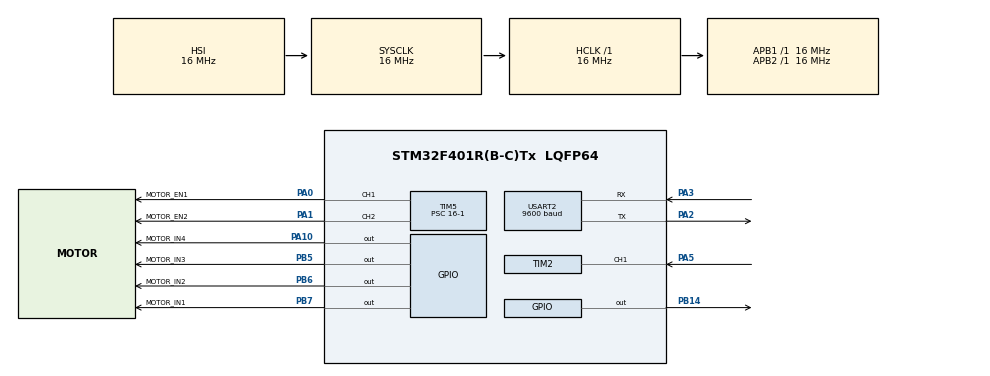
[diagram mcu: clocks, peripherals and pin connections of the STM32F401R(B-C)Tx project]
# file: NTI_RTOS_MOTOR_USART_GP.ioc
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FREERTOS.Queues01=motorQueue,16,motorControl_t,0,Dynamic,NULL,NULL
FREERTOS.Tasks01=motorTask,48,128,StartmotorTask,Default,NULL,Dynamic,NULL,NULL;ACCTask,40,128,StartACCTask,Default,NULL,Dynamic,NULL,NULL;NormalModeTask,41,128,StartNormalMode,Default,NULL,Dynamic,NULL,NULL
FREERTOS.configUSE_PREEMPTION=0
Mcu.Family=STM32F4
Mcu.Name=STM32F401R(B-C)Tx
Mcu.Package=LQFP64
NVIC.PriorityGroup=NVIC_PRIORITYGROUP_4
NVIC.TIM1_UP_TIM10_IRQn=true\:15\:0\:false\:false\:true\:false\:false\:true\:true
NVIC.TIM2_IRQn=true\:5\:0\:false\:false\:true\:true\:true\:true\:true
NVIC.TimeBase=TIM1_UP_TIM10_IRQn
NVIC.TimeBaseIP=TIM10
NVIC.USART2_IRQn=true\:5\:0\:false\:false\:true\:true\:true\:true\:true
PA0-WKUP.GPIO_Label=MOTOR_EN1
PA0-WKUP.Signal=S_TIM5_CH1
PA1.GPIO_Label=MOTOR_EN2
PA1.Signal=S_TIM5_CH2
PA10.GPIO_Label=MOTOR_IN4
PA10.Signal=GPIO_Output
PA13.Mode=Serial_Wire
PA13.Signal=SYS_JTMS-SWDIO
PA14.Mode=Serial_Wire
PA14.Signal=SYS_JTCK-SWCLK
PA2.Mode=Asynchronous
PA2.Signal=USART2_TX
PA3.Mode=Asynchronous
PA3.Signal=USART2_RX
PA5.Signal=S_TIM2_CH1_ETR
PB14.GPIO_Speed=GPIO_SPEED_FREQ_LOW
PB14.Signal=GPIO_Output
PB5.GPIO_Label=MOTOR_IN3
PB5.Signal=GPIO_Output
PB6.GPIO_Label=MOTOR_IN2
PB6.Signal=GPIO_Output
PB7.GPIO_Label=MOTOR_IN1
PB7.Signal=GPIO_Output
ProjectManager.HeapSize=0x200
ProjectManager.StackSize=0x400
ProjectManager.TargetToolchain=STM32CubeIDE
RCC.AHBFreq_Value=16000000
RCC.APB1Freq_Value=16000000
RCC.APB2Freq_Value=16000000
RCC.CortexFreq_Value=16000000
RCC.HSE_VALUE=25000000
RCC.HSI_VALUE=16000000
RCC.LSE_VALUE=32768
RCC.SYSCLKFreq_VALUE=16000000
RCC.VCOOutputFreq_Value=192000000
SH.S_TIM2_CH1_ETR.0=TIM2_CH1,Input_Capture1_from_TI1
SH.S_TIM5_CH1.0=TIM5_CH1,PWM Generation1 CH1
SH.S_TIM5_CH2.0=TIM5_CH2,PWM Generation2 CH2
TIM2.Channel-Input_Capture1_from_TI1=TIM_CHANNEL_1
TIM2.Period=65535
TIM2.Prescaler=16-1
TIM5.Channel-PWM\ Generation1\ CH1=TIM_CHANNEL_1
TIM5.Channel-PWM\ Generation2\ CH2=TIM_CHANNEL_2
TIM5.CounterMode=TIM_COUNTERMODE_UP
TIM5.Period=20000-1
TIM5.Prescaler=16-1
USART2.BaudRate=9600
USART2.VirtualMode=VM_ASYNC
VP_FREERTOS_VS_CMSIS_V2.Mode=CMSIS_V2
VP_SYS_VS_tim10.Mode=TIM10
VP_TIM2_VS_ClockSourceINT.Mode=Internal
board=custom

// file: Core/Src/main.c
/* USER CODE BEGIN Header */
/**
  ******************************************************************************
  * @file           : main.c
  * @brief          : Main program body
  ******************************************************************************
  * @attention
  *
  * Copyright (c) 2023 STMicroelectronics.
  * All rights reserved.
  *
  * This software is licensed under terms that can be found in the LICENSE file
  * in the root directory of this software component.
  * If no LICENSE file comes with this software, it is provided AS-IS.
  *
  ******************************************************************************
  */
/* USER CODE END Header */
#include "main.h"
#include "cmsis_os.h"
#include "tim.h"
#include "usart.h"
#include "gpio.h"

/* USER CODE BEGIN Includes */
#include "../HCSR04/HCSR04.h"
#include <stdlib.h>
/* USER CODE END Includes */

/* USER CODE BEGIN PD */
#define HCSR04_SENSOR1  0
/* USER CODE END PD */

/* USER CODE BEGIN PV */
uint16_t Buffer_ASCII_TO_INT;
uint8_t Buffer[4];
uint8_t Car_Current_Mode      = CAR_DEFAULT_MODE;
uint8_t Car_Current_Direction = CAR_STOP;
uint8_t Car_Current_Status    = CAR_RUNNING;
uint8_t Car_Current_Speed     = CAR_DEFAULT_SPEED;

//uint8_t Buffer_GUI[GUI_ARRAY_SIZE]
uint8_t Buffer_GUI[GUI_ARRAY_SIZE]   = {"1112000010101"};
//uint8_t Buffer_GUI[GUI_ARRAY_SIZE] = {"0109521701010"};
/* USER CODE END PV */

void SystemClock_Config(void);
void MX_FREERTOS_Init(void);

int main(void)
{

  /* MCU Configuration--------------------------------------------------------*/

  /* Reset of all peripherals, Initializes the Flash interface and the Systick. */
  HAL_Init();

  /* Configure the system clock */
  SystemClock_Config();

  /* Initialize all configured peripherals */
  MX_GPIO_Init();
  MX_TIM5_Init();
  MX_TIM2_Init();
  MX_USART2_UART_Init();
  /* USER CODE BEGIN 2 */
  HCSR04_Init(HCSR04_SENSOR1, &htim2);
  HAL_TIM_PWM_Start(&htim5, TIM_CHANNEL_1);
  HAL_TIM_PWM_Start(&htim5, TIM_CHANNEL_2);

  /* UART Receive */
  HAL_UART_Receive_IT(&huart2, (uint8_t*)Buffer, 4);

  /* USER CODE END 2 */

  /* Init scheduler */
  osKernelInitialize();  /* Call init function for freertos objects (in freertos.c) */
  MX_FREERTOS_Init();

  /* Start scheduler */
  osKernelStart();
  /* We should never get here as control is now taken by the scheduler */
  /* Infinite loop */
  while (1)
  {

    /* USER CODE BEGIN 3 */
	/*Distance = HCSR04_Read(HCSR04_SENSOR1);
	HAL_Delay(10);

	TRIG_Ticks++;
	if(TRIG_Ticks >= 15) // Each 15msec
	{
		HCSR04_Trigger(HCSR04_SENSOR1);
		TRIG_Ticks = 0;
	}*/
  }
  /* USER CODE END 3 */
}

void SystemClock_Config(void)
{
  RCC_OscInitTypeDef RCC_OscInitStruct = {0};
  RCC_ClkInitTypeDef RCC_ClkInitStruct = {0};

  /** Configure the main internal regulator output voltage
  */
  __HAL_RCC_PWR_CLK_ENABLE();
  __HAL_PWR_VOLTAGESCALING_CONFIG(PWR_REGULATOR_VOLTAGE_SCALE2);

  /** Initializes the RCC Oscillators according to the specified parameters
  * in the RCC_OscInitTypeDef structure.
  */
  RCC_OscInitStruct.OscillatorType = RCC_OSCILLATORTYPE_HSI;
  RCC_OscInitStruct.HSIState = RCC_HSI_ON;
  RCC_OscInitStruct.HSICalibrationValue = RCC_HSICALIBRATION_DEFAULT;
  RCC_OscInitStruct.PLL.PLLState = RCC_PLL_NONE;
  if (HAL_RCC_OscConfig(&RCC_OscInitStruct) != HAL_OK)
  {
    Error_Handler();
  }

  /** Initializes the CPU, AHB and APB buses clocks
  */
  RCC_ClkInitStruct.ClockType = RCC_CLOCKTYPE_HCLK|RCC_CLOCKTYPE_SYSCLK
                              |RCC_CLOCKTYPE_PCLK1|RCC_CLOCKTYPE_PCLK2;
  RCC_ClkInitStruct.SYSCLKSource = RCC_SYSCLKSOURCE_HSI;
  RCC_ClkInitStruct.AHBCLKDivider = RCC_SYSCLK_DIV1;
  RCC_ClkInitStruct.APB1CLKDivider = RCC_HCLK_DIV1;
  RCC_ClkInitStruct.APB2CLKDivider = RCC_HCLK_DIV1;

  if (HAL_RCC_ClockConfig(&RCC_ClkInitStruct, FLASH_LATENCY_0) != HAL_OK)
  {
    Error_Handler();
  }
}

/* USER CODE BEGIN 4 */
void HAL_TIM_IC_CaptureCallback(TIM_HandleTypeDef *htim)
{
	HCSR04_TMR_IC_ISR(htim);
}

void HAL_UART_RxCpltCallback(UART_HandleTypeDef *huart)
{
	HAL_UART_Transmit(&huart2, Buffer_GUI, 14, 20);
	Buffer_ASCII_TO_INT = atoi((char*)Buffer);
	if((Buffer_ASCII_TO_INT == NORMAL_MODE)||(Buffer_ASCII_TO_INT == ACC_MODE) || (Buffer_ASCII_TO_INT == SELF_DRIVING))
	{
		Car_Current_Mode = Buffer_ASCII_TO_INT;
		Car_Current_Status = CAR_RUNNING ;

	}
	else if((Buffer_ASCII_TO_INT == MOVE_FORWARD)||(Buffer_ASCII_TO_INT == MOVE_BACKWORD)||(Buffer_ASCII_TO_INT == MOVE_RIGHT)||(Buffer_ASCII_TO_INT == MOVE_LEFT))
	{
		Car_Current_Direction = Buffer_ASCII_TO_INT;
	}
	else if (Buffer_ASCII_TO_INT == STOP_MOTOR)
	{
		Car_Current_Speed  = CAR_STOP ;
		Car_Current_Status = CAR_STOP ;
	}
	else
	{
		Car_Current_Speed = Buffer_ASCII_TO_INT - CAR_SPEED_OFFSET ;
		Car_Current_Status = CAR_RUNNING ;

	}
}

/* USER CODE END 4 */

void HAL_TIM_PeriodElapsedCallback(TIM_HandleTypeDef *htim)
{
  if (htim->Instance == TIM10) {
    HAL_IncTick();
  }
  /* USER CODE BEGIN Callback 1 */
  HCSR04_TMR_OVF_ISR(htim);
  /* USER CODE END Callback 1 */
}

void Error_Handler(void)
{
  __disable_irq();
  while (1)
  {
  }
}

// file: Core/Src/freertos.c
/* USER CODE BEGIN Header */
/**
  ******************************************************************************
  * File Name          : freertos.c
  * Description        : Code for freertos applications
  ******************************************************************************
  * @attention
  *
  * Copyright (c) 2023 STMicroelectronics.
  * All rights reserved.
  *
  * This software is licensed under terms that can be found in the LICENSE file
  * in the root directory of this software component.
  * If no LICENSE file comes with this software, it is provided AS-IS.
  *
  ******************************************************************************
  */
/* USER CODE END Header */

#include "FreeRTOS.h"
#include "task.h"
#include "main.h"
#include "cmsis_os.h"

/* USER CODE BEGIN Includes */
#include "../HCSR04/HCSR04.h"
#include "../DCMotor/DCMotor.h"
#include "tim.h"
/* USER CODE END Includes */

/* USER CODE BEGIN PD */
#define HCSR04_SENSOR1  0

/* USER CODE END PD */

/* USER CODE BEGIN Variables */
extern uint8_t Buffer[4];
extern uint16_t Buffer_ASCII_TO_INT;
extern uint8_t Car_Current_Mode;
extern uint8_t Car_Current_Direction;
extern uint8_t Car_Current_Status;
extern uint8_t Car_Current_Speed;
extern uint8_t Buffer_GUI[GUI_ARRAY_SIZE];

float Distance = 0.0;
/* USER CODE END Variables */
/* Definitions for motorTask */
osThreadId_t motorTaskHandle;
const osThreadAttr_t motorTask_attributes = {
  .name = "motorTask",
  .stack_size = 128 * 4,
  .priority = (osPriority_t) osPriorityRealtime,
};
/* Definitions for ACCTask */
osThreadId_t ACCTaskHandle;
const osThreadAttr_t ACCTask_attributes = {
  .name = "ACCTask",
  .stack_size = 128 * 4,
  .priority = (osPriority_t) osPriorityHigh,
};
/* Definitions for NormalModeTask */
osThreadId_t NormalModeTaskHandle;
const osThreadAttr_t NormalModeTask_attributes = {
  .name = "NormalModeTask",
  .stack_size = 128 * 4,
  .priority = (osPriority_t) osPriorityHigh1,
};
/* Definitions for motorQueue */
osMessageQueueId_t motorQueueHandle;
const osMessageQueueAttr_t motorQueue_attributes = {
  .name = "motorQueue"
};

/* USER CODE BEGIN FunctionPrototypes */
extern UART_HandleTypeDef huart2;
/* USER CODE END FunctionPrototypes */

void StartmotorTask(void *argument);
void StartACCTask(void *argument);
void StartNormalMode(void *argument);

void MX_FREERTOS_Init(void); /* (MISRA C 2004 rule 8.1) */

void MX_FREERTOS_Init(void) {

  /* Create the queue(s) */
  /* creation of motorQueue */
  motorQueueHandle = osMessageQueueNew (16, sizeof(motorControl_t), &motorQueue_attributes);

  /* Create the thread(s) */
  /* creation of motorTask */
  motorTaskHandle = osThreadNew(StartmotorTask, NULL, &motorTask_attributes);

  /* creation of ACCTask */
  ACCTaskHandle = osThreadNew(StartACCTask, NULL, &ACCTask_attributes);

  /* creation of NormalModeTask */
  NormalModeTaskHandle = osThreadNew(StartNormalMode, NULL, &NormalModeTask_attributes);

}

void StartmotorTask(void *argument)
{
  /* USER CODE BEGIN StartmotorTask */
  /* Infinite loop */
  for(;;)
  {
	  motorControl_t motortask;
	  uint8_t motortask_prio;
	  if(osMessageQueueGet(motorQueueHandle, &motortask, &motortask_prio, 10) == osOK)
	  {
		  /*if(motortask.motors[0].speed > 0 && motortask.motors[0].speed < 40)
		  {
			  Motor1_SetSpeed(70);
			  Motor2_SetSpeed(70);
			  HAL_Delay(5);
		  }*/
		  DCMotor_handleRequest(&motortask);
	  }
    osDelay(10);
  }
  /* USER CODE END StartmotorTask */
}

void StartACCTask(void *argument)
{
  /* USER CODE BEGIN StartACCTask */
	static uint8_t TRIG_Ticks = 0;
	static double prev_distance;
	static double prev_distances[2];
  /* Infinite loop */
  for(;;)
  {
	  Distance = HCSR04_Read(HCSR04_SENSOR1);
	  /*if(Distance == prev_distances[0] && Distance == prev_distances[1])
	  {
		  Distance = 9999.0;
	  }*/
	  TRIG_Ticks++;
	  if(TRIG_Ticks >= 5)
	  {
		  HCSR04_Trigger(HCSR04_SENSOR1);
		  TRIG_Ticks = 0;
		  // MOTOR TEST:
		  /*
		  static uint8_t lmao = 0;
		  osMessageQueuePut(motorQueueHandle, &lmao, 0, 1);
		  lmao = (lmao+1) % 8;
		  */
	 #if 0
		  static uint8_t lmao = 0;
		  motorControl_t payload = {0};
		  switch(lmao)
		  {
		  case 0: // STOP ALL
			  for(uint8_t i = 0; i < 2; i++)
			  {
				  payload.motors[i].modify = 1;
				  payload.motors[i].speed = 0;
				  payload.motors[i].control = MOTOR_OFF;
			  }
			  osMessageQueuePut(motorQueueHandle, &payload, 0, 1);
			  break;
		  case 1: // MOVE FORWARD
			  for(uint8_t i = 0; i < 2; i++)
			  {
				  payload.motors[i].modify = 1;
				  payload.motors[i].speed = 100;
				  payload.motors[i].control = MOTOR_FWD;
			  }
			  osMessageQueuePut(motorQueueHandle, &payload, 0, 1);
			  break;
		  case 2: // MOVE BACKWARD
			  for(uint8_t i = 0; i < 2; i++)
			  {
				  payload.motors[i].modify = 1;
				  payload.motors[i].speed = 100;
				  payload.motors[i].control = MOTOR_REV;
			  }
			  osMessageQueuePut(motorQueueHandle, &payload, 0, 1);
			  break;
		  case 3: // 30%
			  for(uint8_t i = 0; i < 2; i++)
			  {
				  payload.motors[i].modify = 1;
				  payload.motors[i].speed = 30;
				  payload.motors[i].control = MOTOR_FWD;
			  }
			  osMessageQueuePut(motorQueueHandle, &payload, 0, 1);
			  break;
		  case 4: // 40%
			  for(uint8_t i = 0; i < 2; i++)
			  {
				  payload.motors[i].modify = 1;
				  payload.motors[i].speed = 40;
				  payload.motors[i].control = MOTOR_FWD;
			  }
			  osMessageQueuePut(motorQueueHandle, &payload, 0, 1);
			  break;
		  case 5: // 50%
			  for(uint8_t i = 0; i < 2; i++)
			  {
				  payload.motors[i].modify = 1;
				  payload.motors[i].speed = 50;
				  payload.motors[i].control = MOTOR_FWD;
			  }
			  osMessageQueuePut(motorQueueHandle, &payload, 0, 1);
			  break;
		  case 6: // 60%
			  for(uint8_t i = 0; i < 2; i++)
			  {
				  payload.motors[i].modify = 1;
				  payload.motors[i].speed = 60;
				  payload.motors[i].control = MOTOR_FWD;
			  }
			  osMessageQueuePut(motorQueueHandle, &payload, 0, 1);
			  break;
		  case 7: // 70%
			  for(uint8_t i = 0; i < 2; i++)
			  {
				  payload.motors[i].modify = 1;
				  payload.motors[i].speed = 70;
				  payload.motors[i].control = MOTOR_FWD;
			  }
			  osMessageQueuePut(motorQueueHandle, &payload, 0, 1);
			  break;
		  }
		  lmao = (lmao+1) % 8;
	 #endif
	  }
	 #if 1
	  // ACC START
	 #define DISTANCE_1	80
	 #define DISTANCE_2	65
	 #define DISTANCE_3	50
	 #define DISTANCE_4	35
 	 #define DISTANCE_5	20
	 #define SPEED_1	100
	 #define SPEED_2	80
	 #define SPEED_3	60
	 #define SPEED_4	40
	 #define SPEED_5	20
#if 0
	 static enum
	 {
		 CRUISE_CONTROL_FULL,
		 CRUISE_CONTROL_SLOWDOWN,
		 CRUISE_CONTROL_SPEEDUP,
		 CRUISE_CONTROL_STOP
	 } cruiseControl_state = CRUISE_CONTROL_FULL;
	 double motorSpeeds[2];
	 Motors_GetSpeeds(&motorSpeeds[0], &motorSpeeds[1]);
	 double delta_distance = Distance - prev_distance;
	 switch(cruiseControl_state)
	 {
	 case CRUISE_CONTROL_FULL:
	 {
		 if(Distance >= DISTANCE_1 && ((motorSpeeds[0] - motorSpeeds[1]) != 0 || motorSpeeds[0] < SPEED_1))
		 {
			 motorControl_t payload = {0};
			 for(uint8_t i = 0; i < 2; i++)
			 {
				 payload.motors[i].modify = 1;
				 payload.motors[i].speed = SPEED_1;
				 payload.motors[i].control = MOTOR_FWD;
			 }
			 osMessageQueuePut(motorQueueHandle, &payload, 0, 1);
			 break;
		 }

		 if(delta_distance < 0)
		 {
			 cruiseControl_state = CRUISE_CONTROL_SLOWDOWN;
		 }
		 else if(delta_distance > 0)
		 {
			 cruiseControl_state = CRUISE_CONTROL_SPEEDUP;
		 }
		 else break;
		 //break;
	 }
	 case CRUISE_CONTROL_SLOWDOWN:
	 {
		 if(delta_distance < 0)
		 {
			 if(delta_distance/-10 > 1)
			 {
				 // Apply speed loss based on distance loss
				 double distance_loss = delta_distance/Distance*-1;
				 double speed_loss = motorSpeeds[0] * distance_loss;
				 if(speed_loss < 10)
				 {
					 speed_loss = 0;
					 cruiseControl_state = CRUISE_CONTROL_STOP;
				 }
				 motorControl_t payload = {0};
				 for(uint8_t i = 0; i < 2; i++)
				 {
					 payload.motors[i].modify = 1;
					 payload.motors[i].speed = speed_loss;
					 payload.motors[i].control = MOTOR_FWD;
				 }
				 osMessageQueuePut(motorQueueHandle, &payload, 0, 1);
				 cruiseControl_state = CRUISE_CONTROL_SLOWDOWN;
			 }
			 else
			 {
				 cruiseControl_state = CRUISE_CONTROL_SLOWDOWN;
			 }
		 }
		 else if(delta_distance == 0)
		 {
			 cruiseControl_state = CRUISE_CONTROL_FULL;
		 }
		 else if(delta_distance > 0)
		 {
			 cruiseControl_state = CRUISE_CONTROL_SPEEDUP;
		 }

		 break;
	 }
	 case CRUISE_CONTROL_SPEEDUP:
	 {
		 double distance_gain = delta_distance/Distance + 1;
		 double speed_gain = motorSpeeds[0] * distance_gain;
		 if(delta_distance == 0 && motorSpeeds[0] < SPEED_5)
		 {
			 speed_gain = SPEED_5;
		 }
		 if(delta_distance > 0)
		 {
			 if(delta_distance/10 > 1)
			 {
				 // Apply speed gain based on distance gain

				 if(speed_gain > SPEED_1)
					 speed_gain = SPEED_1;
				 motorControl_t payload = {0};
				 for(uint8_t i = 0; i < 2; i++)
				 {
					 payload.motors[i].modify = 1;
					 payload.motors[i].speed = motorSpeeds[i] * distance_gain;
					 payload.motors[i].control = MOTOR_FWD;
				 }
				 osMessageQueuePut(motorQueueHandle, &payload, 0, 1);
				 cruiseControl_state = CRUISE_CONTROL_SPEEDUP;
			 }
			 else
			 {
				 cruiseControl_state = CRUISE_CONTROL_SLOWDOWN;
			 }
		 }
		 break;
	 }
	 case CRUISE_CONTROL_STOP:
	 {
		 motorControl_t payload = {0};
		 for(uint8_t i = 0; i < 2; i++)
		 {
			 payload.motors[i].modify = 1;
			 payload.motors[i].speed = 0;
			 payload.motors[i].control = MOTOR_FWD;
		 }
		 osMessageQueuePut(motorQueueHandle, &payload, 0, 1);
		 if(delta_distance > 0)
			 cruiseControl_state = CRUISE_CONTROL_SPEEDUP;
		 break;
	 }
	 }
#endif
#if 1
	 if(Distance == 9999.0) continue;
	  if(Distance > DISTANCE_1)
	  {
		  DCMotor_moveForward(SPEED_1);
	  }
	  else if(Distance < DISTANCE_1 && Distance > DISTANCE_2)
	  {
		  DCMotor_moveForward(SPEED_2);
	  }
	  else if(Distance < DISTANCE_2 && Distance > DISTANCE_3)
	  {
		  DCMotor_moveForward(SPEED_3);
	  }
	  else if(Distance < DISTANCE_3 && Distance > DISTANCE_4)
	  {
		  DCMotor_moveForward(SPEED_4);
	  }
	  else if(Distance < DISTANCE_4 && Distance > DISTANCE_5)
	  {
		  DCMotor_moveForward(SPEED_5);
	  }
	  else if(Distance < DISTANCE_5)
	  {
		  DCMotor_stop();
	  }
#endif
	  prev_distance = Distance;
	  prev_distances[1] = prev_distances[0];
	  prev_distances[0] = Distance;
	  // ACC END
	 #endif
	  osDelay(20);
  }
  /* USER CODE END StartACCTask */
}

void StartNormalMode(void *argument)
{
  /* USER CODE BEGIN StartNormalMode */
  /* Infinite loop */
  for(;;)
  {
	if(Car_Current_Mode == NORMAL_MODE)
	{
		Buffer_GUI[MODE_DIG_1_IDx] = CHARACTER_ZERO;
		Buffer_GUI[MODE_DIG_2_IDx] = CHARACTER_ZERO;

		Buffer_GUI[SPEED_DIG_1_IDx] = ((Car_Current_Speed  * 2) / 100) + CHARACTER_ZERO;
		Buffer_GUI[SPEED_DIG_2_IDx] = (((Car_Current_Speed * 2) / 10) % 10) + CHARACTER_ZERO;
		Buffer_GUI[SPEED_DIG_3_IDx] = ((Car_Current_Speed  * 2) % 10) + CHARACTER_ZERO;

		if(Car_Current_Status == CAR_RUNNING)
		{
			switch (Car_Current_Direction)
			{
				case MOVE_FORWARD:
					DCMotor_moveForward(Car_Current_Speed);
					break;

				case MOVE_BACKWORD:
					DCMotor_moveBackward(Car_Current_Speed);
					break;
				case MOVE_RIGHT:
					DCMotor_moveRight(Car_Current_Speed);
					osDelay(5);         // TODO :: TEST
					DCMotor_moveForward(Car_Current_Speed);
					Car_Current_Direction = MOVE_FORWARD;
					break;
				case MOVE_LEFT:
					DCMotor_moveLeft(Car_Current_Speed);
					osDelay(5);        // TODO :: TEST
					DCMotor_moveForward(Car_Current_Speed);
					Car_Current_Direction = MOVE_FORWARD;
					break;
				default:
					break;
			}
		}
		else if (Car_Current_Status == CAR_STOP)
		{
			DCMotor_stop();
		}
		else
		{
			// RETURN ERROR //
		}
	}
    osDelay(10);
  }
  /* USER CODE END StartNormalMode */
}
